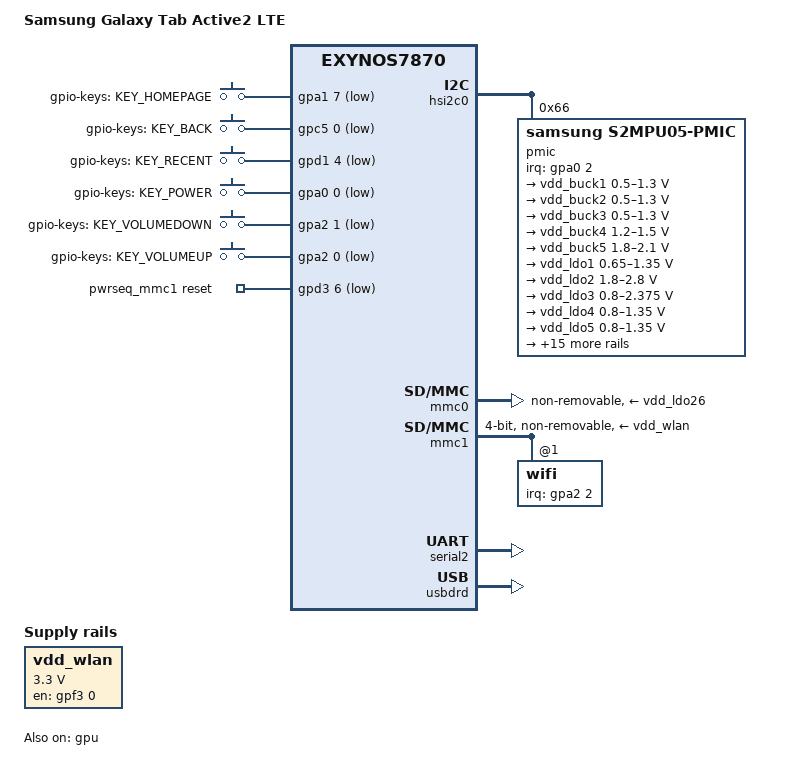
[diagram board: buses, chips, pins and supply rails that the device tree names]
// SPDX-License-Identifier: GPL-2.0
/*
 * Samsung Galaxy Tab Active2 LTE (gtactive2lte, SM-T395) device tree source
 *
 * Based on exynos7870-j5y17lte.dts by Andras Sebok.
 * Hardware values taken from the stock SM-T395 (T395JXSDCUJ1) device tree.
 */

/dts-v1/;
#include "exynos7870.dtsi"
#include <dt-bindings/gpio/gpio.h>
#include <dt-bindings/input/input.h>
#include <dt-bindings/interrupt-controller/irq.h>

/ {
	model = "Samsung Galaxy Tab Active2 LTE";
	compatible = "samsung,gtactive2lte", "samsung,exynos7870";
	chassis-type = "tablet";

	aliases {
		mmc0 = &mmc0;
		mmc1 = &mmc1;
		mmc2 = &mmc2;
		serial0 = &serial0;
		serial1 = &serial1;
		serial2 = &serial2;
	};

	chosen {
		#address-cells = <2>;
		#size-cells = <1>;
		ranges;

		stdout-path = &serial2;

		framebuffer@67000000 {
			compatible = "simple-framebuffer";
			reg = <0x0 0x67000000 (800 * 1280 * 4)>;
			width = <800>;
			height = <1280>;
			stride = <(800 * 4)>;
			format = "a8r8g8b8";
		};
	};

	gpio-keys {
		compatible = "gpio-keys";
		pinctrl-names = "default";
		pinctrl-0 = <&key_power &key_voldown &key_volup>;

		key-home {
			interrupt-parent = <&gpa1>;
			linux,code = <KEY_HOMEPAGE>;
			label = "gpio-keys: KEY_HOMEPAGE";
			gpios = <&gpa1 7 GPIO_ACTIVE_LOW>;
		};

		key-back {
			linux,code = <KEY_BACK>;
			label = "gpio-keys: KEY_BACK";
			gpios = <&gpc5 0 GPIO_ACTIVE_LOW>;
		};

		key-recent {
			linux,code = <KEY_APPSELECT>;
			label = "gpio-keys: KEY_RECENT";
			gpios = <&gpd1 4 GPIO_ACTIVE_LOW>;
		};

		key-power {
			interrupt-parent = <&gpa0>;
			linux,code = <KEY_POWER>;
			label = "gpio-keys: KEY_POWER";
			gpios = <&gpa0 0 GPIO_ACTIVE_LOW>;
		};

		key-voldown {
			interrupt-parent = <&gpa2>;
			linux,code = <KEY_VOLUMEDOWN>;
			label = "gpio-keys: KEY_VOLUMEDOWN";
			gpios = <&gpa2 1 GPIO_ACTIVE_LOW>;
		};

		key-volup {
			interrupt-parent = <&gpa2>;
			linux,code = <KEY_VOLUMEUP>;
			label = "gpio-keys: KEY_VOLUMEUP";
			gpios = <&gpa2 0 GPIO_ACTIVE_LOW>;
		};
	};

	memory@40000000 {
		device_type = "memory";
		reg = <0x0 0x40000000 0x3d800000>,
		      <0x0 0x80000000 0x80000000>;
	};

	vdd_wlan: regulator-wlan {
		compatible = "regulator-fixed";
		regulator-name = "cnss_dcdc_en";
		regulator-min-microvolt = <3300000>;
		regulator-max-microvolt = <3300000>;
		startup-delay-us = <4000>;
		gpio = <&gpf3 0 GPIO_ACTIVE_HIGH>;
		enable-active-high;
	};

	pwrseq_mmc1: pwrseq-mmc1 {
		compatible = "mmc-pwrseq-simple";
		reset-gpios = <&gpd3 6 GPIO_ACTIVE_LOW>;
	};


	reserved-memory {
		#address-cells = <2>;
		#size-cells = <1>;
		ranges;

		ramoops@46e00000 {
			compatible = "ramoops";
			reg = <0x0 0x46e00000 0x8000>;
			console-size = <0x4000>;
			pmsg-size = <0x4000>;
		};

		framebuffer@67000000 {
			reg = <0x0 0x67000000 (800 * 1280 * 4)>;
			no-map;
		};

		/*
		 * Regions used by TrustZone (TIMA) and the cellular/GNSS
		 * processors in the stock firmware. Kept away from Linux for
		 * the first bring-up; can be revisited later.
		 */
		tima@52a00000 {
			reg = <0x0 0x52a00000 0x200000>;
			no-map;
		};

		cp-init@effff000 {
			reg = <0x0 0xeffff000 0x1000>;
			no-map;
		};

		modem@f0000000 {
			reg = <0x0 0xf0000000 0x7800000>;
			no-map;
		};

		gnss@f7c00000 {
			reg = <0x0 0xf7c00000 0x400000>;
			no-map;
		};
	};

};

&gpu {
	status = "okay";
};

&hsi2c0 {
	status = "okay";
	#address-cells = <1>;
	#size-cells = <0>;

	pmic@66 {
		compatible = "samsung,s2mpu05-pmic";
		reg = <0x66>;

		interrupt-parent = <&gpa0>;
		interrupts = <2 IRQ_TYPE_LEVEL_LOW>;

		pinctrl-names = "default";
		pinctrl-0 = <&pmic_irq>;

		regulators {
			vdd_buck1: buck1 {
				regulator-name = "vdd_buck1";
				regulator-min-microvolt = <500000>;
				regulator-max-microvolt = <1300000>;
				regulator-ramp-delay = <12000>;
				regulator-boot-on;
				regulator-always-on;
			};

			vdd_buck2: buck2 {
				regulator-name = "vdd_buck2";
				regulator-min-microvolt = <500000>;
				regulator-max-microvolt = <1300000>;
				regulator-ramp-delay = <12000>;
				regulator-boot-on;
				regulator-always-on;
			};

			vdd_buck3: buck3 {
				regulator-name = "vdd_buck3";
				regulator-min-microvolt = <500000>;
				regulator-max-microvolt = <1300000>;
				regulator-ramp-delay = <12000>;
				regulator-boot-on;
				regulator-always-on;
			};

			vdd_buck4: buck4 {
				regulator-name = "vdd_buck4";
				regulator-min-microvolt = <1200000>;
				regulator-max-microvolt = <1500000>;
				regulator-ramp-delay = <12000>;
				regulator-boot-on;
				regulator-always-on;
			};

			vdd_buck5: buck5 {
				regulator-name = "vdd_buck5";
				regulator-min-microvolt = <1800000>;
				regulator-max-microvolt = <2100000>;
				regulator-ramp-delay = <12000>;
				regulator-boot-on;
				regulator-always-on;
			};

			vdd_ldo1: ldo1 {
				regulator-name = "vdd_ldo1";
				regulator-min-microvolt = <650000>;
				regulator-max-microvolt = <1350000>;
				regulator-ramp-delay = <12000>;
				regulator-boot-on;
				regulator-always-on;
			};

			vdd_ldo2: ldo2 {
				regulator-name = "vdd_ldo2";
				regulator-min-microvolt = <1800000>;
				regulator-max-microvolt = <2800000>;
				regulator-ramp-delay = <12000>;
			};

			vdd_ldo3: ldo3 {
				regulator-name = "vdd_ldo3";
				regulator-min-microvolt = <800000>;
				regulator-max-microvolt = <2375000>;
				regulator-ramp-delay = <12000>;
				regulator-boot-on;
				regulator-always-on;
			};

			vdd_ldo4: ldo4 {
				regulator-name = "vdd_ldo4";
				regulator-min-microvolt = <800000>;
				regulator-max-microvolt = <1350000>;
				regulator-ramp-delay = <12000>;
				regulator-boot-on;
				regulator-always-on;
			};

			vdd_ldo5: ldo5 {
				regulator-name = "vdd_ldo5";
				regulator-min-microvolt = <800000>;
				regulator-max-microvolt = <1350000>;
				regulator-ramp-delay = <12000>;
				regulator-boot-on;
				regulator-always-on;
			};

			vdd_ldo6: ldo6 {
				regulator-name = "vdd_ldo6";
				regulator-min-microvolt = <800000>;
				regulator-max-microvolt = <1350000>;
				regulator-ramp-delay = <12000>;
				regulator-boot-on;
				regulator-always-on;
			};

			vdd_ldo7: ldo7 {
				regulator-name = "vdd_ldo7";
				regulator-min-microvolt = <800000>;
				regulator-max-microvolt = <2375000>;
				regulator-ramp-delay = <12000>;
				regulator-boot-on;
				regulator-always-on;
			};

			vdd_ldo8: ldo8 {
				regulator-name = "vdd_ldo8";
				regulator-min-microvolt = <1800000>;
				regulator-max-microvolt = <3375000>;
				regulator-ramp-delay = <12000>;
			};

			vdd_ldo9: ldo9 {
				regulator-name = "vdd_ldo9";
				regulator-min-microvolt = <650000>;
				regulator-max-microvolt = <1350000>;
				regulator-ramp-delay = <12000>;
				regulator-boot-on;
				regulator-always-on;
			};

			vdd_ldo10: ldo10 {
				regulator-name = "vdd_ldo10";
				regulator-min-microvolt = <650000>;
				regulator-max-microvolt = <1350000>;
				regulator-ramp-delay = <12000>;
				regulator-boot-on;
				regulator-always-on;
			};

			vdd_ldo25: ldo25 {
				regulator-name = "vdd_ldo25";
				regulator-min-microvolt = <800000>;
				regulator-max-microvolt = <2375000>;
				regulator-ramp-delay = <12000>;
				regulator-boot-on;
				regulator-always-on;
			};

			vdd_ldo26: ldo26 {
				regulator-name = "vdd_ldo26";
				regulator-min-microvolt = <1800000>;
				regulator-max-microvolt = <3375000>;
				regulator-ramp-delay = <12000>;
				regulator-boot-on;
				regulator-always-on;
			};

			vdd_ldo27: ldo27 {
				regulator-name = "vdd_ldo27";
				regulator-min-microvolt = <800000>;
				regulator-max-microvolt = <2375000>;
				regulator-ramp-delay = <12000>;
				regulator-boot-on;
				regulator-always-on;
			};

			vdd_ldo29: ldo29 {
				regulator-name = "vdd_ldo29";
				regulator-min-microvolt = <2800000>;
				regulator-max-microvolt = <2800000>;
				regulator-boot-on;
				regulator-always-on;
			};

			vdd_ldo30: ldo30 {
				regulator-name = "vdd_ldo30";
				regulator-min-microvolt = <1800000>;
				regulator-max-microvolt = <1800000>;
				regulator-boot-on;
				regulator-always-on;
			};

			vdd_ldo31: ldo31 {
				regulator-name = "vdd_ldo31";
				regulator-min-microvolt = <2800000>;
				regulator-max-microvolt = <2800000>;
				regulator-boot-on;
				regulator-always-on;
			};

			vdd_ldo32: ldo32 {
				regulator-name = "vdd_ldo32";
				regulator-min-microvolt = <1800000>;
				regulator-max-microvolt = <1800000>;
			};

			vdd_ldo33: ldo33 {
				regulator-name = "vdd_ldo33";
				regulator-min-microvolt = <2800000>;
				regulator-max-microvolt = <2800000>;
			};

			vdd_ldo34: ldo34 {
				regulator-name = "vdd_ldo34";
				regulator-min-microvolt = <1800000>;
				regulator-max-microvolt = <1800000>;
			};

			vdd_ldo35: ldo35 {
				regulator-name = "vdd_ldo35";
				regulator-min-microvolt = <2800000>;
				regulator-max-microvolt = <2800000>;
			};
		};
	};
};



&mmc0 {
	pinctrl-names = "default";
	pinctrl-0 = <&sd0_clk &sd0_cmd &sd0_rdqs &sd0_bus1 &sd0_bus4 &sd0_bus8>;

	vmmc-supply = <&vdd_ldo26>;
	vqmmc-supply = <&vdd_ldo27>;

	fifo-depth = <64>;
	samsung,dw-mshc-ciu-div = <3>;
	samsung,dw-mshc-sdr-timing = <0 4>;
	samsung,dw-mshc-ddr-timing = <2 4>;
	non-removable;

	status = "okay";
};

&mmc1 {
	#address-cells = <1>;
	#size-cells = <0>;

	pinctrl-names = "default";
	pinctrl-0 = <&sd1_clk &sd1_cmd &sd1_bus1 &sd1_bus4>;

	mmc-pwrseq = <&pwrseq_mmc1>;
	vmmc-supply = <&vdd_wlan>;

	bus-width = <4>;
	fifo-depth = <64>;
	samsung,dw-mshc-ciu-div = <3>;
	samsung,dw-mshc-sdr-timing = <0 3>;
	samsung,dw-mshc-ddr-timing = <1 2>;
	non-removable;
	cap-sd-highspeed;
	cap-sdio-irq;
	pio-mode;

	status = "okay";

	/* Qualcomm QCA6174 (ath10k_sdio), enumerated by SDIO id */
	wifi@1 {
		reg = <1>;
		interrupt-names = "host-wake";
		interrupt-parent = <&gpa2>;
		interrupts = <2 IRQ_TYPE_LEVEL_LOW>;
	};
};

&oscclk {
	clock-frequency = <26000000>;
};

&pinctrl_alive {
	accel_irq: accel-irq-pins {
		samsung,pins = "gpa2-3";
		samsung,pin-function = <EXYNOS_PIN_FUNC_EINT>;
		samsung,pin-pud = <EXYNOS_PIN_PULL_NONE>;
		samsung,pin-drv = <EXYNOS5433_PIN_DRV_FAST_SR1>;
	};

	dwmmc2_irq: dwmmc2-irq-pins {
		samsung,pins = "gpa0-1";
		samsung,pin-function = <EXYNOS_PIN_FUNC_EINT>;
		samsung,pin-pud = <EXYNOS_PIN_PULL_NONE>;
		samsung,pin-drv = <EXYNOS5433_PIN_DRV_FAST_SR1>;
	};

	fuel_irq: fuel-irq-pins {
		samsung,pins = "gpa0-3";
		samsung,pin-function = <EXYNOS_PIN_FUNC_INPUT>;
		samsung,pin-pud = <EXYNOS_PIN_PULL_NONE>;
		samsung,pin-drv = <EXYNOS5433_PIN_DRV_FAST_SR1>;
	};

	hall_irq: hall-irq-pins {
		samsung,pins = "gpa1-3";
		samsung,pin-function = <EXYNOS_PIN_FUNC_EINT>;
		samsung,pin-pud = <EXYNOS_PIN_PULL_NONE>;
		samsung,pin-drv = <EXYNOS5433_PIN_DRV_FAST_SR1>;
	};

	key_power: key-power-pins {
		samsung,pins = "gpa0-0";
		samsung,pin-function = <EXYNOS_PIN_FUNC_EINT>;
		samsung,pin-pud = <EXYNOS_PIN_PULL_NONE>;
		samsung,pin-drv = <EXYNOS5433_PIN_DRV_FAST_SR1>;
	};

	key_voldown: key-voldown-pins {
		samsung,pins = "gpa2-1";
		samsung,pin-function = <EXYNOS_PIN_FUNC_EINT>;
		samsung,pin-pud = <EXYNOS_PIN_PULL_NONE>;
		samsung,pin-drv = <EXYNOS5433_PIN_DRV_FAST_SR1>;
	};

	key_volup: key-volup-pins {
		samsung,pins = "gpa2-0";
		samsung,pin-function = <EXYNOS_PIN_FUNC_EINT>;
		samsung,pin-pud = <EXYNOS_PIN_PULL_NONE>;
		samsung,pin-drv = <EXYNOS5433_PIN_DRV_FAST_SR1>;
	};

	pmic_irq: pmic-irq-pins {
		samsung,pins = "gpa0-2";
		samsung,pin-pud = <EXYNOS_PIN_PULL_UP>;
		samsung,pin-drv = <EXYNOS5433_PIN_DRV_FAST_SR4>;
	};

	touch_irq: touch-irq-pins {
		samsung,pins = "gpa0-6";
		samsung,pin-function = <EXYNOS_PIN_FUNC_EINT>;
		samsung,pin-pud = <EXYNOS_PIN_PULL_NONE>;
		samsung,pin-drv = <EXYNOS5433_PIN_DRV_FAST_SR1>;
	};

	wlan_hostwake: wlan-hostwake-pins {
		samsung,pins = "gpa2-2";
		samsung,pin-function = <EXYNOS_PIN_FUNC_OUTPUT>;
		samsung,pin-pud = <EXYNOS_PIN_PULL_UP>;
	};
};

&pinctrl_top {
	wlan_enable: wlan-enable-pins {
		samsung,pins = "gpd3-6";
		samsung,pin-function = <EXYNOS_PIN_FUNC_OUTPUT>;
		samsung,pin-con-pdn = <EXYNOS_PIN_PDN_PREV>;
		samsung,pin-pud-pdn = <EXYNOS_PIN_PULL_NONE>;
		samsung,pin-pud = <EXYNOS_PIN_PULL_NONE>;
		samsung,pin-drv = <EXYNOS5433_PIN_DRV_FAST_SR4>;
		samsung,pin-val = <0>;
	};
};

&serial2 {
	status = "okay";
};

&usbdrd {
	vdd33-supply = <&vdd_ldo8>;

	status = "okay";
};
